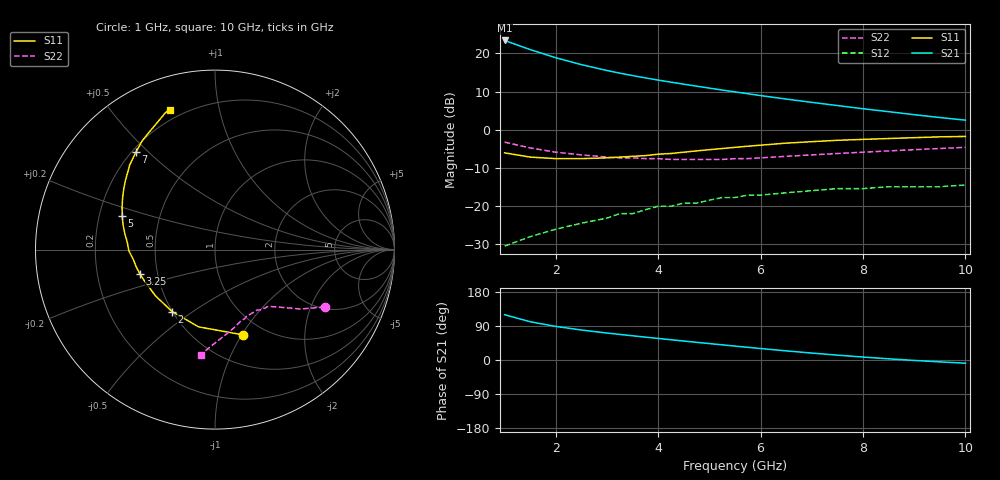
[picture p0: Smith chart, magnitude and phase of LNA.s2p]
!BFP420 S PARAMETERS (T2G5)
! Vcc=10 V Ic=4 mA
! Vce=5 V  Vbe=1 V
! Tc=25C,  Z0=50 ohms
# GHZ S MA R 50
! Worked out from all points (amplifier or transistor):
!   25 points, 1 GHz to 10 GHz, reference 50 ohm
!   highest |S21| = 23.4 dB at 1 GHz (marker M1)
!   |S21| within 3 dB of that: start of sweep to 1.642 GHz
!   unconditionally stable (mu >= 1): nowhere
!   at 3 GHz: K = 0.83, MSG = 19.3 dB, |S12| = -23.1 dB
!   at 5 GHz: K = 0.67, MSG = 14.7 dB, |S12| = -18.4 dB
!   at 10 GHz: K = 0.08, MSG = 8.5 dB, |S12| = -14.4 dB
!   S11 on the Smith chart (normalised r, x): 1 GHz: 0.80, -1.01; 2 GHz: 0.50, -0.42; 3.25 GHz: 0.40, -0.13; 5 GHz: 0.30, +0.16; 7 GHz: 0.22, +0.46; 10 GHz: 0.15, +0.72
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1  0.5 -71.8  14.8 119.5  0.03 55.5  0.69 -27.6
1.5  0.44 -102.0  11.23 101.0  0.04 52.4  0.58 -34.8
2  0.42 -124.8  8.79 88.6  0.05 53.1  0.51 -39.4
2.5  0.42 -142.2  7.14 79.2  0.06 54.9  0.47 -42.8
3  0.43 -156.1  5.98 71.2  0.07 56.6  0.44 -46.1
3.25  0.44 -162.2  5.53 67.5  0.08 57.3  0.43 -47.7
3.5  0.45 -168.0  5.13 63.9  0.08 57.9  0.43 -49.5
4  0.48 -179.2  4.48 56.9  0.1 58.7  0.42 -53.3
4.25  0.49 175.4  4.21 53.4  0.1 58.8  0.41 -55.3
4.5  0.51 170.1  3.96 50.0  0.11 58.9  0.41 -57.5
4.75  0.53 165.0  3.73 46.7  0.11 58.7  0.41 -59.7
5  0.55 160.0  3.52 43.3  0.12 58.4  0.41 -62.1
5.25  0.57 155.3  3.32 40.0  0.13 57.9  0.41 -64.5
5.5  0.59 150.8  3.14 36.7  0.13 57.3  0.42 -67.0
6  0.63 142.4  2.81 30.3  0.14 55.6  0.43 -72.0
6.5  0.67 135.1  2.53 24.1  0.15 53.4  0.45 -76.8
7  0.7 128.9  2.29 18.3  0.16 50.9  0.47 -81.2
7.5  0.73 123.7  2.08 12.8  0.17 48.2  0.49 -85.1
8  0.75 119.3  1.89 7.8  0.17 45.2  0.51 -88.5
8.5  0.77 115.7  1.73 3.2  0.18 42.1  0.53 -91.3
9  0.79 112.6  1.58 -1.1  0.18 38.9  0.55 -93.7
10  0.82 107.9  1.34 -8.4  0.19 32.6  0.59 -97.4
